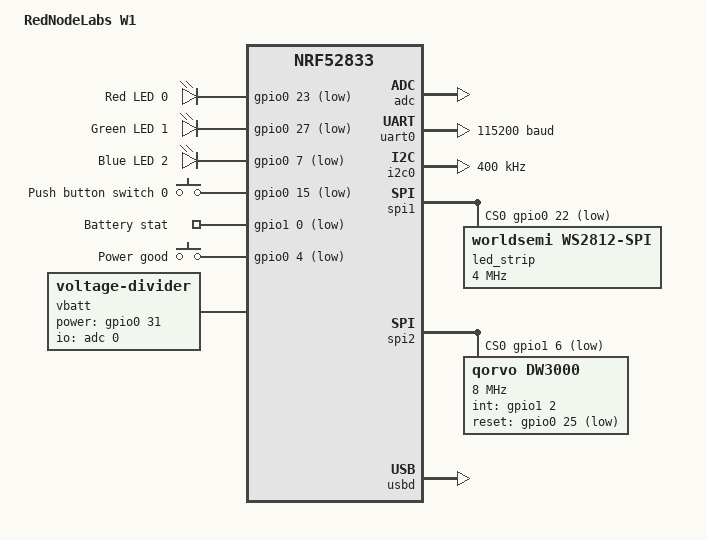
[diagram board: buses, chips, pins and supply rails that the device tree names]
/*
 * Copyright (c) 2023 RedNodeLabs.
 *
 * SPDX-License-Identifier: Apache-2.0
 */

/dts-v1/;
#include <zephyr/dt-bindings/led/led.h>
#include <nordic/nrf52833_qiaa.dtsi>
#include "rnl_w1-pinctrl.dtsi"

/ {
	model = "RedNodeLabs W1";

	chosen {
		zephyr,console        = &uart0;
		zephyr,shell-uart     = &uart0;
		zephyr,uart-mcumgr    = &uart0;
		zephyr,bt-mon-uart    = &uart0;
		zephyr,bt-c2h-uart    = &uart0;
		zephyr,sram           = &sram0;
		zephyr,flash          = &flash0;
		zephyr,code-partition = &slot0_partition;
	};

	leds {
		compatible = "gpio-leds";
		led0_red: led_0 {
			gpios = <&gpio0 23 GPIO_ACTIVE_LOW>;
			label = "Red LED 0";
		};
		led1_green: led_1 {
			gpios = <&gpio0 27 GPIO_ACTIVE_LOW>;
			label = "Green LED 1";
		};
		led2_blue: led_2 {
			gpios = <&gpio0 7 GPIO_ACTIVE_LOW>;
			label = "Blue LED 2";
		};
	};

	buttons {
		compatible = "gpio-keys";
		button0: button_0 {
			gpios = <&gpio0 15 (GPIO_PULL_UP | GPIO_ACTIVE_LOW)>;
			label = "Push button switch 0";
		};
	};

	battery {
		compatible = "gpio-keys";
		battery_stat: battery_stat {
			gpios = <&gpio1 0 (GPIO_PULL_UP | GPIO_ACTIVE_LOW)>;
			label = "Battery stat";
		};
		power_good: power_good {
			gpios = <&gpio0 4 (GPIO_PULL_UP | GPIO_ACTIVE_LOW)>;
			label = "Power good";
		};
	};

	vbatt {
		compatible = "voltage-divider";
		io-channels = <&adc 0>;
		output-ohms = <180000>;
		full-ohms = <(1500000 + 180000)>;
		power-gpios = <&gpio0 31 0>;
	};

	/* These aliases are provided for compatibility with samples */
	aliases {
		sw0             = &button0;
		led0            = &led0_red;
		led1            = &led1_green;
		led2            = &led2_blue;
		led0-red        = &led0_red;
		led1-green      = &led1_green;
		led2-blue       = &led2_blue;
		mcuboot-button0 = &button0;
		mcuboot-led0    = &led0_red;
		watchdog0       = &wdt0;
		led-strip       = &led_strip;
		battery-stat    = &battery_stat;
		power-good      = &power_good;
	};

};

&adc {
	status = "okay";
};

&gpiote {
	status = "okay";
};

&gpio0 {
	status = "okay";
};

&gpio1 {
	status = "okay";
};

&uart0 {
	compatible = "nordic,nrf-uarte";
	status = "okay";
	current-speed = <115200>;
	pinctrl-0 = <&uart0_default>;
	pinctrl-1 = <&uart0_sleep>;
	pinctrl-names = "default", "sleep";
};

&i2c0 {
	compatible = "nordic,nrf-twim";
	status = "okay";
	clock-frequency = <I2C_BITRATE_FAST>;

	pinctrl-0 = <&i2c0_default>;
	pinctrl-1 = <&i2c0_sleep>;
	pinctrl-names = "default", "sleep";
};

&spi1 {
	compatible = "nordic,nrf-spi";
	status = "okay";
	cs-gpios = <&gpio0 22 GPIO_ACTIVE_LOW>;
	pinctrl-0 = <&spi1_default>;
	pinctrl-1 = <&spi1_sleep>;
	pinctrl-names = "default", "sleep";
};

&spi2 {
	compatible = "nordic,nrf-spi";
	status = "okay";
	cs-gpios = <&gpio1 6 GPIO_ACTIVE_LOW>;
	pinctrl-0 = <&spi2_default>;
	pinctrl-1 = <&spi2_sleep>;
	pinctrl-names = "default", "sleep";
	dw3000@0 {
		compatible = "qorvo,dw3000";
		spi-max-frequency = <8000000>;
		int-gpios = <&gpio1 2 GPIO_ACTIVE_HIGH>;	/* P1.02 */
		reset-gpios = <&gpio0 25 GPIO_ACTIVE_LOW>;	/* P0.25 */
		status = "okay";
		reg = <0>;
	};
};

&flash0 {

	partitions {
		compatible = "fixed-partitions";
		#address-cells = <1>;
		#size-cells = <1>;

		boot_partition: partition@0 {
			label = "mcuboot";
			reg = <0x00000000 0xC000>;
		};
		slot0_partition: partition@c000 {
			label = "image-0";
			reg = <0x0000C000 0x32000>;
		};
		slot1_partition: partition@3e000 {
			label = "image-1";
			reg = <0x0003E000 0x32000>;
		};
		scratch_partition: partition@70000 {
			label = "image-scratch";
			reg = <0x00070000 0xA000>;
		};
		storage_partition: partition@7a000 {
			label = "storage";
			reg = <0x0007A000 0x00006000>;
		};
	};
};

zephyr_udc0: &usbd {
	compatible = "nordic,nrf-usbd";
	status = "okay";
};

ws2812_spi: &spi1 { /* MOSI on P0.26 */
	compatible = "nordic,nrf-spim";
	led_strip: ws2812@0 {
		compatible = "worldsemi,ws2812-spi";

		/* SPI */
		reg = <0>; /* ignored, but necessary for SPI bindings */
		spi-max-frequency = <4000000>;

		/* WS2812 */
		chain-length = <6>;
		color-mapping = <LED_COLOR_ID_GREEN
				 LED_COLOR_ID_RED
				 LED_COLOR_ID_BLUE>;
		spi-one-frame = <0x70>;
		spi-zero-frame = <0x40>;
	};
};
